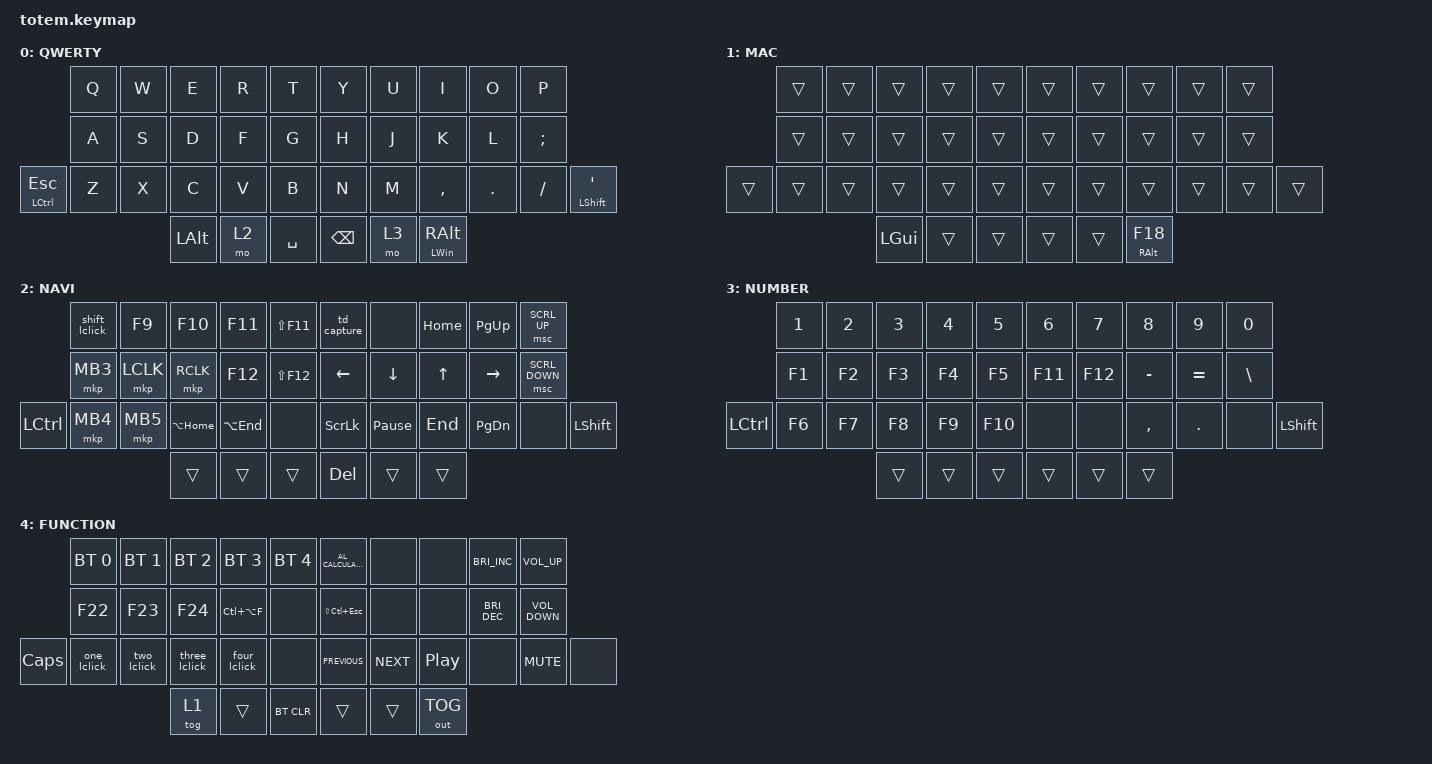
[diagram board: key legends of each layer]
//
//                                                        ▀▀▀▀▀     ▀▀▀▀▀          ▀▀█▀▀
//                                                        ▄▀▀▀▄  ▄  ▄▀▀▀▄  ▄  ▄▀▀▀▄  █  ▄▀▀▀▄
//                                                        █   █  █  █   █  █  █   █  █  █   █
//                                                         ▀▀▀   █   ▀▀▀   █   ▀▀▀   ▀   ▀▀▀
//                                                               █      ▄▄▄█▄▄▄    █   █  
//                                                               ▀      █  █  █     █▄█
//                                                             ▀▀▀▀▀    █  █  █      ▀
//                                                                      ▀  ▀  ▀
//
// ▄▄▄▄▄▄▄▄▄▄▄▄▄▄▄▄▄▄▄▄▄▄▄▄▄▄▄▄▄▄▄▄▄▄▄▄▄▄▄▄▄▄▄▄▄▄▄▄▄▄▄▄▄▄▄▄▄▄▄▄▄▄▄▄▄▄▄▄▄▄▄▄▄▄▄▄▄▄▄▄▄▄▄▄▄▄▄▄▄▄▄▄▄▄▄▄▄▄▄▄▄▄▄▄▄▄▄▄▄▄▄▄▄▄▄▄▄▄▄▄▄▄▄▄▄▄▄▄▄▄▄▄▄▄▄▄▄▄▄▄▄▄▄▄▄▄▄▄▄

#include <behaviors.dtsi>
#include <dt-bindings/zmk/bt.h>
#include <dt-bindings/zmk/keys.h>
#include <dt-bindings/zmk/outputs.h>
#include <dt-bindings/zmk/pointing.h>

#define BASE 0
#define NAV  1
#define SYM  2
#define ADJ  3
#define TVP1 4
#define TVP2 5

/ {
    combos {
        compatible = "zmk,combos";

        lpar {
            bindings = <&kp LEFT_PARENTHESIS>;
            key-positions = <2 3>;
            timeout-ms = <30>;
        };

        rpar {
            bindings = <&kp RIGHT_PARENTHESIS>;
            key-positions = <6 7>;
            timeout-ms = <30>;
        };

        lbkt {
            bindings = <&kp LEFT_BRACKET>;
            key-positions = <13 12>;
            timeout-ms = <30>;
        };

        rbkt {
            bindings = <&kp RIGHT_BRACKET>;
            key-positions = <16 17>;
            timeout-ms = <30>;
        };

        lbrc {
            bindings = <&kp LEFT_BRACE>;
            key-positions = <23 24>;
            timeout-ms = <30>;
        };

        rbrc {
            bindings = <&kp RIGHT_BRACE>;
            key-positions = <27 28>;
            timeout-ms = <30>;
        };

        minus {
            bindings = <&kp MINUS>;
            key-positions = <8 7>;
            timeout-ms = <30>;
        };

        equal {
            bindings = <&kp EQUAL>;
            key-positions = <17 18>;
            timeout-ms = <30>;
        };

        backslash {
            bindings = <&kp BACKSLASH>;
            key-positions = <28 29>;
            timeout-ms = <30>;
        };

        enter {
            bindings = <&kp ENTER>;
            key-positions = <16 17 18>;
            timeout-ms = <60>;
        };

        tab {
            bindings = <&kp TAB>;
            key-positions = <1 0>;
            timeout-ms = <60>;
            layers = <0 1>;
        };

        grave {
            bindings = <&kp GRAVE>;
            key-positions = <0 1>;
            layers = <3>;
        };

        lshift {
            bindings = <&kp LEFT_SHIFT>;
            key-positions = <10 11>;
            timeout-ms = <60>;
        };

        ctrl-x {
            bindings = <&kp LC(X)>;
            key-positions = <21 23>;
            layers = <0>;
            timeout-ms = <30>;
        };

        ctrl-c {
            bindings = <&kp LC(C)>;
            key-positions = <22 23>;
            layers = <0>;
            timeout-ms = <30>;
        };

        ctrl-v {
            bindings = <&kp LC(V)>;
            key-positions = <24 22>;
            layers = <0>;
            timeout-ms = <30>;
        };

        ctrl-z {
            bindings = <&kp LC(Z)>;
            key-positions = <21 22>;
            layers = <0>;
            timeout-ms = <30>;
        };

        ctrl-s {
            bindings = <&kp LC(S)>;
            key-positions = <11 12>;
            timeout-ms = <30>;
            layers = <0>;
        };

        ctrl-f {
            bindings = <&kp LC(F)>;
            key-positions = <13 11>;
            timeout-ms = <30>;
            layers = <0>;
        };

        cmd-x {
            bindings = <&kp LG(X)>;
            key-positions = <21 23>;
            timeout-ms = <30>;
            layers = <1>;
        };

        cmd-c {
            bindings = <&kp LG(C)>;
            key-positions = <22 23>;
            timeout-ms = <30>;
            layers = <1>;
        };

        cmd-v {
            bindings = <&kp LG(V)>;
            key-positions = <24 22>;
            timeout-ms = <30>;
            layers = <1>;
        };

        cmd-z {
            bindings = <&kp LG(Z)>;
            key-positions = <21 22>;
            timeout-ms = <30>;
            layers = <1>;
        };

        cmd-s {
            bindings = <&kp LG(S)>;
            key-positions = <11 12>;
            timeout-ms = <30>;
            layers = <1>;
        };

        cmd-f {
            bindings = <&kp LG(F)>;
            key-positions = <13 11>;
            timeout-ms = <30>;
            layers = <1>;
        };

        enter2 {
            bindings = <&kp ENTER>;
            key-positions = <18 19>;
        };
    };

    behaviors {
        mt_tap_pre: mt_tap_pre {
            compatible = "zmk,behavior-hold-tap";
            label = "MT_TAP_PRE";
            bindings = <&kp>, <&kp>;

            #binding-cells = <2>;
            tapping-term-ms = <200>;
            flavor = "tap-preferred";
        };

        td_capture: td_capture {
            compatible = "zmk,behavior-tap-dance";
            label = "TD_CAPTURE";
            #binding-cells = <0>;
            bindings = <&kp PRINTSCREEN>, <&kp LS(LG(NUMBER_4))>;
        };
    };

    macros {
        shift_lclick: shift_lclick {
            compatible = "zmk,behavior-macro";
            #binding-cells = <0>;
            bindings =
                <&macro_press>,
                <&kp LEFT_SHIFT>,
                <&macro_tap>,
                <&mkp MB1>,
                <&macro_release>,
                <&kp LSHIFT>;

            label = "SHIFT_LCLICK";
        };

        one_lclick: one_lclick {
            compatible = "zmk,behavior-macro";
            #binding-cells = <0>;
            bindings =
                <&macro_press>,
                <&kp NUMBER_1>,
                <&macro_tap>,
                <&mkp MB1>,
                <&macro_release>,
                <&kp NUMBER_1>;

            label = "ONE_LCLICK";
        };

        two_lclick: two_lclick {
            compatible = "zmk,behavior-macro";
            #binding-cells = <0>;
            bindings =
                <&macro_press>,
                <&kp NUMBER_2>,
                <&macro_tap>,
                <&mkp MB1>,
                <&macro_release>,
                <&kp NUMBER_2>;

            label = "TWO_LCLICK";
        };

        three_lclick: three_lclick {
            compatible = "zmk,behavior-macro";
            #binding-cells = <0>;
            bindings =
                <&macro_press>,
                <&kp NUMBER_3>,
                <&macro_tap>,
                <&mkp MB1>,
                <&macro_release>,
                <&kp NUMBER_3>;

            label = "THREE_LCLICK";
        };

        four_lclick: four_lclick {
            compatible = "zmk,behavior-macro";
            #binding-cells = <0>;
            bindings =
                <&macro_press>,
                <&kp NUMBER_4>,
                <&macro_tap>,
                <&mkp MB1>,
                <&macro_release>,
                <&kp NUMBER_4>;

            label = "FOUR_LCLICK";
        };
    };

    keymap {
        compatible = "zmk,keymap";

        qwerty_layer {
            label = "QWERTY";
            bindings = <
               &kp Q  &kp W  &kp E         &kp R  &kp T        &kp Y          &kp U  &kp I                           &kp O    &kp P
               &kp A  &kp S  &kp D         &kp F  &kp G        &kp H          &kp J  &kp K                           &kp L    &kp SEMI
&mt LCTRL ESC  &kp Z  &kp X  &kp C         &kp V  &kp B        &kp N          &kp M  &kp COMMA                       &kp DOT  &kp FSLH  &mt LEFT_SHIFT SQT
                             &kp LEFT_ALT  &mo 2  &kp SPACE    &kp BACKSPACE  &mo 3  &mt_tap_pre LEFT_WIN RIGHT_ALT
            >;
        };

        qwerty_layer_mac {
            label = "MAC";
            bindings = <
        &trans  &trans  &trans        &trans  &trans    &trans  &trans  &trans                     &trans  &trans
        &trans  &trans  &trans        &trans  &trans    &trans  &trans  &trans                     &trans  &trans
&trans  &trans  &trans  &trans        &trans  &trans    &trans  &trans  &trans                     &trans  &trans  &trans
                        &kp LEFT_GUI  &trans  &trans    &trans  &trans  &mt_tap_pre RIGHT_ALT F18
            >;
        };

        nav_layer {
            label = "NAVI";
            bindings = <
                  &shift_lclick  &kp F9     &kp F10       &kp F11      &kp LS(F11)    &td_capture     &none            &kp HOME  &kp PAGE_UP    &msc SCRL_UP
                  &mkp MB3       &mkp LCLK  &mkp RCLK     &kp F12      &kp LS(F12)    &kp LEFT        &kp DOWN         &kp UP    &kp RIGHT      &msc SCRL_DOWN
&kp LEFT_CONTROL  &mkp MB4       &mkp MB5   &kp LA(HOME)  &kp LA(END)  &none          &kp SCROLLLOCK  &kp PAUSE_BREAK  &kp END   &kp PAGE_DOWN  &none           &kp LEFT_SHIFT
                                            &trans        &trans       &trans         &kp DELETE      &trans           &trans
            >;
        };

        num_layer {
            label = "NUMBER";
            bindings = <
                  &kp N1  &kp N2  &kp N3  &kp N4  &kp N5     &kp N6   &kp N7   &kp N8     &kp N9     &kp N0
                  &kp F1  &kp F2  &kp F3  &kp F4  &kp F5     &kp F11  &kp F12  &kp MINUS  &kp EQUAL  &kp BACKSLASH
&kp LEFT_CONTROL  &kp F6  &kp F7  &kp F8  &kp F9  &kp F10    &none    &none    &kp COMMA  &kp DOT    &none          &kp LEFT_SHIFT
                                  &trans  &trans  &trans     &trans   &trans   &trans
            >;
        };

        func_layer {
            label = "FUNCTION";
            bindings = <
              &bt BT_SEL 0  &bt BT_SEL 1  &bt BT_SEL 2   &bt BT_SEL 3   &bt BT_SEL 4    &kp C_AL_CALCULATOR  &none       &none             &kp C_BRIGHTNESS_INC  &kp C_VOLUME_UP
              &kp F22       &kp F23       &kp F24        &kp LC(LA(F))  &none           &kp LS(LC(ESC))      &none       &none             &kp C_BRIGHTNESS_DEC  &kp C_VOLUME_DOWN
&kp CAPSLOCK  &one_lclick   &two_lclick   &three_lclick  &four_lclick   &none           &kp C_PREVIOUS       &kp C_NEXT  &kp C_PLAY_PAUSE  &none                 &kp C_MUTE         &none
                                          &tog 1         &trans         &bt BT_CLR      &trans               &trans      &out OUT_TOG
            >;
        };
    };

    conditional_layers {
        compatible = "zmk,conditional-layers";

        function {
            if-layers = <2 3>;
            then-layer = <4>;
        };
    };
};
